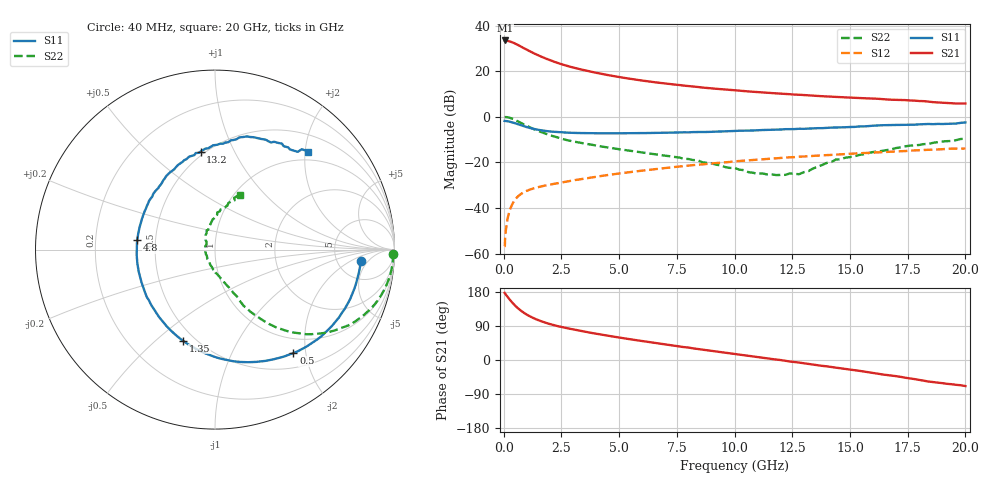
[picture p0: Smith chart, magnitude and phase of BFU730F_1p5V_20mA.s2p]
! Filename:  P:\Prog\Test\Noise\ATS_data\Testdata_Net\Split files Spar\BFU730_2W_B1_Bias8_1.5V_1mA_30mA_D.s2p
! Date/Time: Fri 29/Apr/2011 14:16:59
! BFU730_2W_B1_Bias8_1.5V_1mA_30mA_R.s2p
! MDIF S-parameter v. bias file
! BFU730_2W_B1_1.5V_1mA_30mA
! Date/time Thu Mar 17 13:45:32 2011
! VAR V_out= 1.5001
! VAR I_out= 20.0850
! VAR V_in= 0.8212
! VAR I_in= 0.0688
! Device data file deembeded for feedlines and parallel
! Original file: \Split files Spar\BFU730_2W_B1_Bias8_1.5V_1mA_30mA_R.s2p
! Feed-files: PR003V01_101208_Feed1.s2p, PR003V01_101208_Feed2.s2p
! Parallel-file: PR003V01_101208_Par.s2p
# MHz S MA R 50
!  Freq-MHz  S11-mag  S11-arg  S21-mag  S21-arg  S12-mag  S12-arg  S22-mag  S22-arg
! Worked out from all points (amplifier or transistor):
!   167 points, 40 MHz to 20 GHz, reference 50 ohm
!   highest |S21| = 33.6 dB at 50 MHz (marker M1)
!   |S21| within 3 dB of that: start of sweep to 804.3 MHz
!   unconditionally stable (mu >= 1): 4.389 GHz to 15.87 GHz
!   at 550 MHz: K = 0.21, MSG = 33.8 dB, |S12| = -35.7 dB
!   at 4.2 GHz: K = 0.99, MSG = 22.5 dB, |S12| = -26.0 dB
!   at 20 GHz: K = 0.89, MSG = 9.9 dB, |S12| = -13.9 dB
!   S11 on the Smith chart (normalised r, x): 40 MHz: 8.52, -3.26; 500 MHz: 0.74, -1.78; 1.35 GHz: 0.43, -0.62; 4.8 GHz: 0.39, +0.05; 13.2 GHz: 0.47, +0.75; 20 GHz: 0.82, +2.07
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40  0.8145 -4.5  47.48 177.1  0.001455 87.5  0.9895 -1.4
50  0.8115 -5.7  47.59 175.8  0.00145 92.2  0.9899 -2.3
60  0.8138 -6.7  47.08 175.2  0.002086 91.8  0.9923 -3.0
140  0.8066 -15.7  46.94 168.8  0.004857 83.2  0.9853 -8.7
280  0.7823 -30.9  45.01 158.0  0.009434 76.1  0.9479 -17.7
400  0.7521 -43.2  42.73 149.6  0.01286 70.3  0.8989 -24.5
500  0.7232 -52.8  40.46 143.3  0.01538 66.0  0.8538 -29.7
650  0.6804 -65.7  37.07 134.8  0.01855 60.9  0.7818 -36.0
900  0.6173 -84.2  31.69 123.5  0.02249 54.8  0.6725 -44.1
1100  0.5771 -96.5  28.04 116.4  0.02494 51.6  0.6003 -48.8
1350  0.538 -109.5  24.3 109.0  0.02741 49.0  0.5262 -53.2
1700  0.5002 -124.0  20.26 100.7  0.03035 47.0  0.4482 -57.4
2100  0.4734 -137.1  16.84 93.2  0.03334 45.9  0.3831 -61.0
2700  0.4517 -152.5  13.38 84.6  0.03796 45.2  0.3124 -64.2
3400  0.4407 -166.0  10.84 76.1  0.04339 44.7  0.2656 -66.8
4800  0.4368 173.1  7.797 61.2  0.05538 42.6  0.2027 -72.7
6800  0.4467 150.9  5.553 43.0  0.07343 37.0  0.1453 -82.8
10200  0.4957 121.5  3.769 14.3  0.1073 22.9  0.06944 -124.6
13200  0.5523 98.3  2.952 -10.3  0.1369 7.0  0.06439 136.5
13400  0.5577 97.0  2.926 -12.0  0.1395 5.7  0.07359 135.4
16800  0.6625 70.9  2.38 -41.0  0.1717 -13.9  0.1949 86.5
20000  0.754 46.4  1.964 -68.8  0.2021 -34.9  0.3325 65.4
